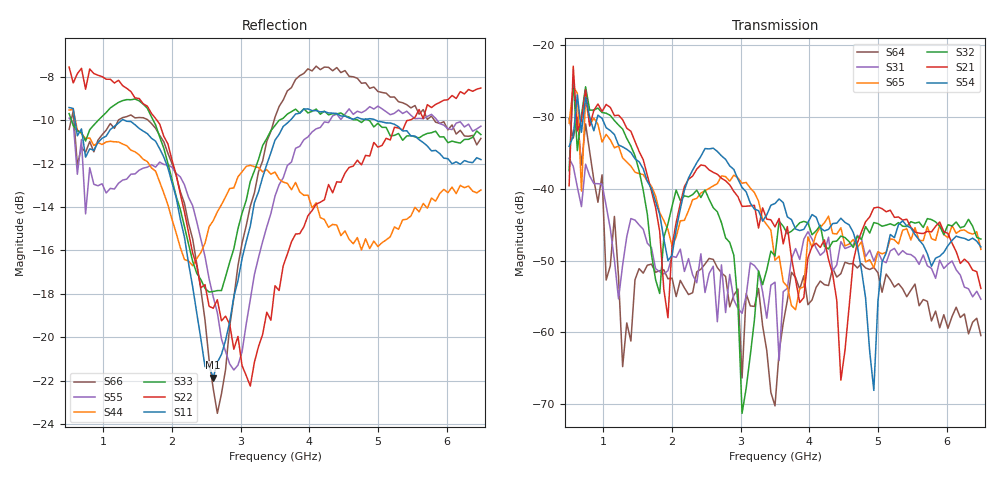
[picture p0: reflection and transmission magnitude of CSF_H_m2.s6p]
!Keysight Technologies,M9804A,MY58100912,A.14.10.03
!Date: Thursday, April 27, 2023 10:28:33
!Correction: S11(C  6-Port  )
!S12(C  6-Port  )
!S13(C  6-Port  )
!S14(C  6-Port  )
!S15(C  6-Port  )
!S16(C  6-Port  )
!S21(C  6-Port  )
!S22(C  6-Port  )
!S23(C  6-Port  )
!S24(C  6-Port  )
!S25(C  6-Port  )
!S26(C  6-Port  )
!S31(C  6-Port  )
!S32(C  6-Port  )
!S33(C  6-Port  )
!S34(C  6-Port  )
!S35(C  6-Port  )
!S36(C  6-Port  )
!S41(C  6-Port  )
!S42(C  6-Port  )
!S43(C  6-Port  )
!S44(C  6-Port  )
!S45(C  6-Port  )
!S46(C  6-Port  )
!S51(C  6-Port  )
!S52(C  6-Port  )
!S53(C  6-Port  )
!S54(C  6-Port  )
!S55(C  6-Port  )
!S56(C  6-Port  )
!S61(C  6-Port  )
!S62(C  6-Port  )
!S63(C  6-Port  )
!S64(C  6-Port  )
!S65(C  6-Port  )
!S66(C  6-Port  )
!S6P File: Measurement: :
# Hz S  RI  R 50
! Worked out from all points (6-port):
!   101 points, 500 MHz to 6.5 GHz, reference 50 ohm
!   strongest paths, dB at 500 MHz, 2 GHz, 3.5 GHz, 5 GHz, 6.5 GHz:
!     S54: -34.1, -49.3, -42.1, -55.6, -48.1
!     S21: -39.6, -48.0, -45.3, -42.6, -53.9
!     S32: -37.5, -42.4, -49.4, -44.9, -47.0
!     S65: -30.8, -48.0, -50.0, -48.8, -48.4
!     S31: -35.7, -49.4, -53.0, -48.8, -55.4
!     S64: -30.3, -52.4, -70.2, -51.7, -60.4
!   lowest |S11| = -21.9 dB at 2.6 GHz (marker M1), VSWR 1.18, Z = 42.8 + j1.98 ohm
!   |S11| at or under -10 dB: 585.6 MHz to 1.269 GHz (683.3 MHz wide, 73.7 % of centre); 1.302 GHz to 3.724 GHz (2.422 GHz wide, 96.4 % of centre); 4.966 GHz to end of sweep
